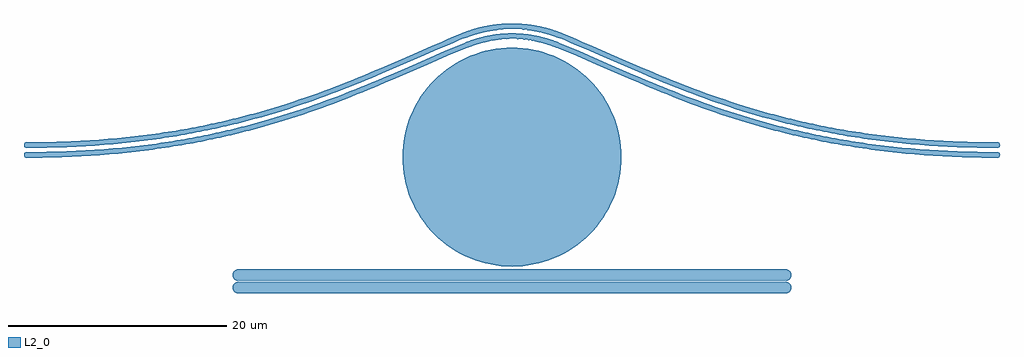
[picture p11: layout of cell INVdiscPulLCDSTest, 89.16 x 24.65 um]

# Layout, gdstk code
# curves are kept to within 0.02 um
import gdstk
lib = gdstk.Library(unit=1e-6, precision=1e-09)
def P(c, l, *ps):  # polygons
    for p in ps: c.add(gdstk.Polygon(p, *l))
L2_0 = (2, 0)

invdiscpullcdstest = lib.new_cell('INVdiscPulLCDSTest')
P(invdiscpullcdstest, L2_0, [(10,10),(9.02,10.048),(8.049,10.192),(7.097,10.431),(6.173,10.761),(5.286,11.181),(4.444,11.685),(3.656,12.27),(2.929,12.929),(2.27,13.656),(1.685,14.444),(1.181,15.286),(0.761,16.173),(0.431,17.097),(0.192,18.049),(0.048,19.02),(0,20),(0.048,20.98),(0.192,21.951),(0.431,22.903),(0.761,23.827),(1.181,24.714),(1.685,25.556),(2.27,26.344),(2.929,27.071),(3.656,27.73),(4.444,28.315),(5.286,28.819),(6.173,29.239),(7.097,29.569),(8.049,29.808),(9.02,29.952),(10,30),(10.98,29.952),(11.951,29.808),(12.903,29.569),(13.827,29.239),(14.714,28.819),(15.556,28.315),(16.344,27.73),(17.071,27.071),(17.73,26.344),(18.315,25.556),(18.819,24.714),(19.239,23.827),(19.569,22.903),(19.808,21.951),(19.952,20.98),(20,20),(19.952,19.02),(19.808,18.049),(19.569,17.097),(19.239,16.173),(18.819,15.286),(18.315,14.444),(17.73,13.656),(17.071,12.929),(16.344,12.27),(15.556,11.685),(14.714,11.181),(13.827,10.761),(12.903,10.431),(11.951,10.192),(10.98,10.048)],
  [(-34.331,19.953),(-34.331,20.453),(-31.578,20.493),(-28.946,20.608),(-26.429,20.793),(-24.022,21.044),(-21.719,21.354),(-19.158,21.785),(-16.722,22.283),(-14.405,22.839),(-12.197,23.445),(-10.385,23.998),(-8.075,24.774),(-6.416,25.379),(-2.754,26.835),(4.374,29.9),(6.238,30.656),(7.188,30.945),(8.092,31.138),(8.872,31.244),(9.897,31.3),(10.855,31.268),(11.807,31.155),(12.812,30.945),(13.762,30.656),(15.626,29.9),(22.754,26.835),(26.416,25.379),(28.642,24.577),(30.981,23.81),(32.817,23.267),(35.056,22.674),(37.406,22.134),(39.516,21.719),(42.096,21.298),(44.416,20.997),(46.841,20.758),(49.377,20.584),(52.028,20.481),(54.331,20.453),(54.331,19.953),(50.675,20.023),(48.499,20.134),(46.815,20.258),(43.986,20.545),(41.298,20.913),(38.39,21.424),(35.644,22.019),(33.683,22.513),(31.495,23.134),(29.113,23.892),(26.848,24.689),(24.687,25.514),(22.616,26.354),(15.902,29.24),(13.533,30.206),(12.751,30.444),(11.759,30.656),(10.85,30.767),(9.902,30.8),(8.889,30.743),(8.112,30.634),(7.249,30.444),(6.467,30.206),(4.098,29.24),(-2.616,26.354),(-6.299,24.893),(-8.537,24.088),(-10.888,23.319),(-12.733,22.774),(-14.981,22.18),(-17.342,21.638),(-19.461,21.222),(-22.052,20.8),(-24.381,20.499),(-26.815,20.258),(-29.36,20.084),(-32.021,19.981)],
  [(-34.331,20.853),(-34.331,21.353),(-31.593,21.393),(-28.976,21.507),(-26.474,21.692),(-24.081,21.942),(-21.794,22.251),(-19.605,22.615),(-17.17,23.102),(-14.854,23.648),(-12.958,24.157),(-10.546,24.885),(-8.818,25.461),(-6.612,26.26),(-2.986,27.707),(3.618,30.556),(6.009,31.529),(6.893,31.798),(7.903,32.019),(8.893,32.15),(9.926,32.2),(10.886,32.168),(11.878,32.055),(12.857,31.861),(13.921,31.553),(15.932,30.747),(23.488,27.498),(27.154,26.057),(29.387,25.266),(31.137,24.698),(33.581,23.984),(35.504,23.487),(37.853,22.957),(39.963,22.551),(42.168,22.196),(44.473,21.896),(46.883,21.657),(49.404,21.483),(52.041,21.381),(54.331,21.353),(54.331,20.853),(50.695,20.923),(48.957,21.008),(46.857,21.157),(44.045,21.443),(41.375,21.811),(38.84,22.251),(36.094,22.834),(33.816,23.405),(31.645,24.023),(29.285,24.777),(27.04,25.57),(23.353,27.016),(16.205,30.089),(13.794,31.068),(12.877,31.341),(11.906,31.544),(10.921,31.664),(9.894,31.7),(8.938,31.652),(7.954,31.52),(7.054,31.323),(6.139,31.045),(3.795,30.089),(-2.849,27.226),(-6.496,25.773),(-8.713,24.972),(-11.044,24.207),(-12.873,23.664),(-15.104,23.072),(-17.447,22.533),(-19.551,22.118),(-21.748,21.753),(-24.438,21.397),(-26.857,21.157),(-29.387,20.984),(-32.033,20.881)],
  [(54.331,20.853),(54.331,21.353),(54.428,21.334),(54.507,21.28),(54.561,21.201),(54.581,21.103),(54.561,21.006),(54.507,20.927),(54.428,20.873)],
  [(-34.331,20.853),(-34.428,20.873),(-34.507,20.927),(-34.561,21.006),(-34.581,21.103),(-34.561,21.201),(-34.507,21.28),(-34.428,21.334),(-34.331,21.353)],
  [(54.331,19.953),(54.331,20.453),(54.428,20.434),(54.507,20.38),(54.561,20.301),(54.581,20.203),(54.561,20.106),(54.507,20.027),(54.428,19.973)],
  [(-34.331,19.953),(-34.428,19.973),(-34.507,20.027),(-34.561,20.106),(-34.581,20.203),(-34.561,20.301),(-34.507,20.38),(-34.428,20.434),(-34.331,20.453)],
  [(-15,7.55),(-15.204,7.591),(-15.371,7.704),(-15.484,7.871),(-15.525,8.075),(-15.484,8.279),(-15.371,8.446),(-15.204,8.559),(-15,8.6),(35,8.6),(35.204,8.559),(35.371,8.446),(35.484,8.279),(35.525,8.075),(35.484,7.871),(35.371,7.704),(35.204,7.591),(35,7.55)],
  [(-15,8.7),(-15.204,8.741),(-15.371,8.854),(-15.484,9.021),(-15.525,9.225),(-15.484,9.429),(-15.371,9.596),(-15.204,9.709),(-15,9.75),(35,9.75),(35.204,9.709),(35.371,9.596),(35.484,9.429),(35.525,9.225),(35.484,9.021),(35.371,8.854),(35.204,8.741),(35,8.7)])

lib.write_gds('INVdiscPulLCDSTest.gds')
